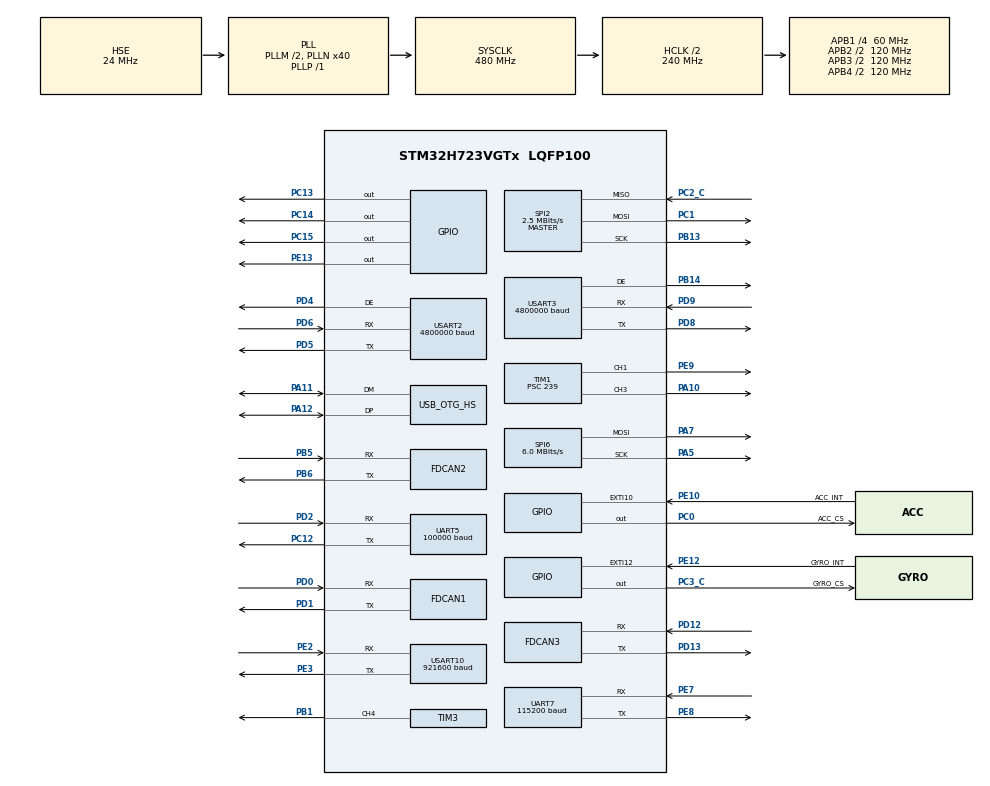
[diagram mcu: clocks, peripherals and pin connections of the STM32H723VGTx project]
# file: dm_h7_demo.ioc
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Dma.Request0=USART2_RX
Dma.Request1=USART2_TX
Dma.Request2=USART3_RX
Dma.Request3=USART3_TX
Dma.Request4=UART5_RX
Dma.Request5=UART5_TX
Dma.Request6=USART10_TX
Dma.Request7=UART7_TX
Dma.UART5_RX.4.Direction=DMA_PERIPH_TO_MEMORY
Dma.UART5_RX.4.EventEnable=DISABLE
Dma.UART5_RX.4.FIFOMode=DMA_FIFOMODE_DISABLE
Dma.UART5_RX.4.Instance=DMA1_Stream4
Dma.UART5_RX.4.MemDataAlignment=DMA_MDATAALIGN_BYTE
Dma.UART5_RX.4.MemInc=DMA_MINC_ENABLE
Dma.UART5_RX.4.Mode=DMA_NORMAL
Dma.UART5_RX.4.PeriphDataAlignment=DMA_PDATAALIGN_BYTE
Dma.UART5_RX.4.PeriphInc=DMA_PINC_DISABLE
Dma.UART5_RX.4.Polarity=HAL_DMAMUX_REQ_GEN_RISING
Dma.UART5_RX.4.Priority=DMA_PRIORITY_LOW
Dma.UART5_RX.4.RequestNumber=1
Dma.UART5_RX.4.SignalID=NONE
Dma.UART5_RX.4.SyncEnable=DISABLE
Dma.UART5_RX.4.SyncPolarity=HAL_DMAMUX_SYNC_NO_EVENT
Dma.UART5_RX.4.SyncRequestNumber=1
Dma.UART5_RX.4.SyncSignalID=NONE
Dma.UART5_TX.5.Direction=DMA_MEMORY_TO_PERIPH
Dma.UART5_TX.5.EventEnable=DISABLE
Dma.UART5_TX.5.FIFOMode=DMA_FIFOMODE_DISABLE
Dma.UART5_TX.5.Instance=DMA1_Stream5
Dma.UART5_TX.5.MemDataAlignment=DMA_MDATAALIGN_BYTE
Dma.UART5_TX.5.MemInc=DMA_MINC_ENABLE
Dma.UART5_TX.5.Mode=DMA_NORMAL
Dma.UART5_TX.5.PeriphDataAlignment=DMA_PDATAALIGN_BYTE
Dma.UART5_TX.5.PeriphInc=DMA_PINC_DISABLE
Dma.UART5_TX.5.Polarity=HAL_DMAMUX_REQ_GEN_RISING
Dma.UART5_TX.5.Priority=DMA_PRIORITY_LOW
Dma.UART5_TX.5.RequestNumber=1
Dma.UART5_TX.5.SignalID=NONE
Dma.UART5_TX.5.SyncEnable=DISABLE
Dma.UART5_TX.5.SyncPolarity=HAL_DMAMUX_SYNC_NO_EVENT
Dma.UART5_TX.5.SyncRequestNumber=1
Dma.UART5_TX.5.SyncSignalID=NONE
Dma.UART7_TX.7.Direction=DMA_MEMORY_TO_PERIPH
Dma.UART7_TX.7.EventEnable=DISABLE
Dma.UART7_TX.7.FIFOMode=DMA_FIFOMODE_DISABLE
Dma.UART7_TX.7.Instance=DMA1_Stream7
Dma.UART7_TX.7.MemDataAlignment=DMA_MDATAALIGN_BYTE
Dma.UART7_TX.7.MemInc=DMA_MINC_ENABLE
Dma.UART7_TX.7.Mode=DMA_NORMAL
Dma.UART7_TX.7.PeriphDataAlignment=DMA_PDATAALIGN_BYTE
Dma.UART7_TX.7.PeriphInc=DMA_PINC_DISABLE
Dma.UART7_TX.7.Polarity=HAL_DMAMUX_REQ_GEN_RISING
Dma.UART7_TX.7.Priority=DMA_PRIORITY_LOW
Dma.UART7_TX.7.RequestNumber=1
Dma.UART7_TX.7.SignalID=NONE
Dma.UART7_TX.7.SyncEnable=DISABLE
Dma.UART7_TX.7.SyncPolarity=HAL_DMAMUX_SYNC_NO_EVENT
Dma.UART7_TX.7.SyncRequestNumber=1
Dma.UART7_TX.7.SyncSignalID=NONE
Dma.USART10_TX.6.Direction=DMA_MEMORY_TO_PERIPH
Dma.USART10_TX.6.EventEnable=DISABLE
Dma.USART10_TX.6.FIFOMode=DMA_FIFOMODE_DISABLE
Dma.USART10_TX.6.Instance=DMA1_Stream6
Dma.USART10_TX.6.MemDataAlignment=DMA_MDATAALIGN_BYTE
Dma.USART10_TX.6.MemInc=DMA_MINC_ENABLE
Dma.USART10_TX.6.Mode=DMA_NORMAL
Dma.USART10_TX.6.PeriphDataAlignment=DMA_PDATAALIGN_BYTE
Dma.USART10_TX.6.PeriphInc=DMA_PINC_DISABLE
Dma.USART10_TX.6.Polarity=HAL_DMAMUX_REQ_GEN_RISING
Dma.USART10_TX.6.Priority=DMA_PRIORITY_LOW
Dma.USART10_TX.6.RequestNumber=1
Dma.USART10_TX.6.SignalID=NONE
Dma.USART10_TX.6.SyncEnable=DISABLE
Dma.USART10_TX.6.SyncPolarity=HAL_DMAMUX_SYNC_NO_EVENT
Dma.USART10_TX.6.SyncRequestNumber=1
Dma.USART10_TX.6.SyncSignalID=NONE
Dma.USART2_RX.0.Direction=DMA_PERIPH_TO_MEMORY
Dma.USART2_RX.0.EventEnable=DISABLE
Dma.USART2_RX.0.FIFOMode=DMA_FIFOMODE_DISABLE
Dma.USART2_RX.0.Instance=DMA1_Stream0
Dma.USART2_RX.0.MemDataAlignment=DMA_MDATAALIGN_BYTE
Dma.USART2_RX.0.MemInc=DMA_MINC_ENABLE
Dma.USART2_RX.0.Mode=DMA_NORMAL
Dma.USART2_RX.0.PeriphDataAlignment=DMA_PDATAALIGN_BYTE
Dma.USART2_RX.0.PeriphInc=DMA_PINC_DISABLE
Dma.USART2_RX.0.Polarity=HAL_DMAMUX_REQ_GEN_RISING
Dma.USART2_RX.0.Priority=DMA_PRIORITY_LOW
Dma.USART2_RX.0.RequestNumber=1
Dma.USART2_RX.0.SignalID=NONE
Dma.USART2_RX.0.SyncEnable=DISABLE
Dma.USART2_RX.0.SyncPolarity=HAL_DMAMUX_SYNC_NO_EVENT
Dma.USART2_RX.0.SyncRequestNumber=1
Dma.USART2_RX.0.SyncSignalID=NONE
Dma.USART2_TX.1.Direction=DMA_MEMORY_TO_PERIPH
Dma.USART2_TX.1.EventEnable=DISABLE
Dma.USART2_TX.1.FIFOMode=DMA_FIFOMODE_DISABLE
Dma.USART2_TX.1.Instance=DMA1_Stream1
Dma.USART2_TX.1.MemDataAlignment=DMA_MDATAALIGN_BYTE
Dma.USART2_TX.1.MemInc=DMA_MINC_ENABLE
Dma.USART2_TX.1.Mode=DMA_NORMAL
Dma.USART2_TX.1.PeriphDataAlignment=DMA_PDATAALIGN_BYTE
Dma.USART2_TX.1.PeriphInc=DMA_PINC_DISABLE
Dma.USART2_TX.1.Polarity=HAL_DMAMUX_REQ_GEN_RISING
Dma.USART2_TX.1.Priority=DMA_PRIORITY_LOW
Dma.USART2_TX.1.RequestNumber=1
Dma.USART2_TX.1.SignalID=NONE
Dma.USART2_TX.1.SyncEnable=DISABLE
Dma.USART2_TX.1.SyncPolarity=HAL_DMAMUX_SYNC_NO_EVENT
Dma.USART2_TX.1.SyncRequestNumber=1
Dma.USART2_TX.1.SyncSignalID=NONE
Dma.USART3_RX.2.Direction=DMA_PERIPH_TO_MEMORY
Dma.USART3_RX.2.EventEnable=DISABLE
Dma.USART3_RX.2.FIFOMode=DMA_FIFOMODE_DISABLE
Dma.USART3_RX.2.Instance=DMA1_Stream2
Dma.USART3_RX.2.MemDataAlignment=DMA_MDATAALIGN_BYTE
Dma.USART3_RX.2.MemInc=DMA_MINC_ENABLE
Dma.USART3_RX.2.Mode=DMA_NORMAL
Dma.USART3_RX.2.PeriphDataAlignment=DMA_PDATAALIGN_BYTE
Dma.USART3_RX.2.PeriphInc=DMA_PINC_DISABLE
Dma.USART3_RX.2.Polarity=HAL_DMAMUX_REQ_GEN_RISING
Dma.USART3_RX.2.Priority=DMA_PRIORITY_LOW
Dma.USART3_RX.2.RequestNumber=1
Dma.USART3_RX.2.SignalID=NONE
Dma.USART3_RX.2.SyncEnable=DISABLE
Dma.USART3_RX.2.SyncPolarity=HAL_DMAMUX_SYNC_NO_EVENT
Dma.USART3_RX.2.SyncRequestNumber=1
Dma.USART3_RX.2.SyncSignalID=NONE
Dma.USART3_TX.3.Direction=DMA_MEMORY_TO_PERIPH
Dma.USART3_TX.3.EventEnable=DISABLE
Dma.USART3_TX.3.FIFOMode=DMA_FIFOMODE_ENABLE
Dma.USART3_TX.3.FIFOThreshold=DMA_FIFO_THRESHOLD_FULL
Dma.USART3_TX.3.Instance=DMA1_Stream3
Dma.USART3_TX.3.MemBurst=DMA_MBURST_SINGLE
Dma.USART3_TX.3.MemDataAlignment=DMA_MDATAALIGN_BYTE
Dma.USART3_TX.3.MemInc=DMA_MINC_ENABLE
Dma.USART3_TX.3.Mode=DMA_NORMAL
Dma.USART3_TX.3.PeriphBurst=DMA_PBURST_SINGLE
Dma.USART3_TX.3.PeriphDataAlignment=DMA_PDATAALIGN_BYTE
Dma.USART3_TX.3.PeriphInc=DMA_PINC_DISABLE
Dma.USART3_TX.3.Polarity=HAL_DMAMUX_REQ_GEN_RISING
Dma.USART3_TX.3.Priority=DMA_PRIORITY_LOW
Dma.USART3_TX.3.RequestNumber=1
Dma.USART3_TX.3.SignalID=NONE
Dma.USART3_TX.3.SyncEnable=DISABLE
Dma.USART3_TX.3.SyncPolarity=HAL_DMAMUX_SYNC_NO_EVENT
Dma.USART3_TX.3.SyncRequestNumber=1
Dma.USART3_TX.3.SyncSignalID=NONE
FDCAN1.AutoRetransmission=ENABLE
FDCAN1.CalculateBaudRateNominal=1000000
FDCAN1.CalculateTimeBitNominal=1000
FDCAN1.CalculateTimeQuantumNominal=12.5
FDCAN1.DataSyncJumpWidth=2
FDCAN1.DataTimeSeg1=13
FDCAN1.DataTimeSeg2=2
FDCAN1.ExtFiltersNbr=4
FDCAN1.NominalPrescaler=1
FDCAN1.NominalSyncJumpWidth=20
FDCAN1.NominalTimeSeg1=59
FDCAN1.NominalTimeSeg2=20
FDCAN1.ProtocolException=ENABLE
FDCAN1.RxBuffersNbr=2
FDCAN1.RxFifo0ElmtsNbr=8
FDCAN1.RxFifo1ElmtsNbr=8
FDCAN1.StdFiltersNbr=4
FDCAN1.TxBuffersNbr=8
FDCAN1.TxEventsNbr=8
FDCAN1.TxFifoQueueElmtsNbr=8
FDCAN2.AutoRetransmission=ENABLE
FDCAN2.CalculateBaudRateNominal=1000000
FDCAN2.CalculateTimeBitNominal=1000
FDCAN2.CalculateTimeQuantumNominal=12.5
FDCAN2.DataSyncJumpWidth=2
FDCAN2.DataTimeSeg1=13
FDCAN2.DataTimeSeg2=2
FDCAN2.ExtFiltersNbr=4
FDCAN2.MessageRAMOffset=853
FDCAN2.NominalPrescaler=1
FDCAN2.NominalSyncJumpWidth=20
FDCAN2.NominalTimeSeg1=59
FDCAN2.NominalTimeSeg2=20
FDCAN2.ProtocolException=ENABLE
FDCAN2.RxBuffersNbr=2
FDCAN2.RxFifo0ElmtsNbr=8
FDCAN2.RxFifo1ElmtsNbr=8
FDCAN2.StdFiltersNbr=4
FDCAN2.TxBuffersNbr=8
FDCAN2.TxEventsNbr=8
FDCAN2.TxFifoQueueElmtsNbr=8
FDCAN3.AutoRetransmission=ENABLE
FDCAN3.CalculateBaudRateNominal=1000000
FDCAN3.CalculateTimeBitNominal=1000
FDCAN3.CalculateTimeQuantumNominal=12.5
FDCAN3.DataSyncJumpWidth=2
FDCAN3.DataTimeSeg1=13
FDCAN3.DataTimeSeg2=2
FDCAN3.ExtFiltersNbr=4
FDCAN3.MessageRAMOffset=1706
FDCAN3.NominalPrescaler=1
FDCAN3.NominalSyncJumpWidth=20
FDCAN3.NominalTimeSeg1=59
FDCAN3.NominalTimeSeg2=20
FDCAN3.ProtocolException=ENABLE
FDCAN3.RxBuffersNbr=2
FDCAN3.RxFifo0ElmtsNbr=8
FDCAN3.RxFifo1ElmtsNbr=8
FDCAN3.StdFiltersNbr=4
FDCAN3.TxBuffersNbr=8
FDCAN3.TxEventsNbr=8
FDCAN3.TxFifoQueueElmtsNbr=8
Mcu.Family=STM32H7
Mcu.Name=STM32H723VGTx
Mcu.Package=LQFP100
NVIC.DMA1_Stream0_IRQn=true\:0\:0\:false\:false\:true\:false\:true\:true
NVIC.DMA1_Stream1_IRQn=true\:0\:0\:false\:false\:true\:false\:true\:true
NVIC.DMA1_Stream2_IRQn=true\:0\:0\:false\:false\:true\:false\:true\:true
NVIC.DMA1_Stream3_IRQn=true\:0\:0\:false\:false\:true\:false\:true\:true
NVIC.DMA1_Stream4_IRQn=true\:0\:0\:false\:false\:true\:false\:true\:true
NVIC.DMA1_Stream5_IRQn=true\:0\:0\:false\:false\:true\:false\:true\:true
NVIC.DMA1_Stream6_IRQn=true\:0\:0\:false\:false\:true\:false\:true\:true
NVIC.DMA1_Stream7_IRQn=true\:0\:0\:false\:false\:true\:false\:true\:true
NVIC.EXTI15_10_IRQn=true\:0\:0\:false\:false\:true\:true\:true\:true
NVIC.FDCAN1_IT0_IRQn=true\:0\:0\:false\:false\:true\:true\:true\:true
NVIC.FDCAN1_IT1_IRQn=true\:0\:0\:false\:false\:true\:true\:true\:true
NVIC.FDCAN2_IT0_IRQn=true\:0\:0\:false\:false\:true\:true\:true\:true
NVIC.FDCAN2_IT1_IRQn=true\:0\:0\:false\:false\:true\:true\:true\:true
NVIC.FDCAN3_IT0_IRQn=true\:0\:0\:false\:false\:true\:true\:true\:true
NVIC.FDCAN3_IT1_IRQn=true\:0\:0\:false\:false\:true\:true\:true\:true
NVIC.OTG_HS_IRQn=true\:0\:0\:false\:false\:true\:true\:true\:true
NVIC.PriorityGroup=NVIC_PRIORITYGROUP_4
NVIC.UART5_IRQn=true\:0\:0\:false\:false\:true\:true\:true\:true
NVIC.UART7_IRQn=true\:0\:0\:false\:false\:true\:true\:true\:true
NVIC.USART10_IRQn=true\:0\:0\:false\:false\:true\:true\:true\:true
NVIC.USART2_IRQn=true\:0\:0\:false\:false\:true\:true\:true\:true
NVIC.USART3_IRQn=true\:0\:0\:false\:false\:true\:true\:true\:true
PA10.Signal=S_TIM1_CH3
PA11.Mode=Device_Only_FS
PA11.Signal=USB_OTG_HS_DM
PA12.Mode=Device_Only_FS
PA12.Signal=USB_OTG_HS_DP
PA13(JTMS/SWDIO).Mode=Serial_Wire
PA13(JTMS/SWDIO).Signal=DEBUG_JTMS-SWDIO
PA14(JTCK/SWCLK).Mode=Serial_Wire
PA14(JTCK/SWCLK).Signal=DEBUG_JTCK-SWCLK
PA5.Mode=TX_Only_Simplex_Unidirect_Master
PA5.Signal=SPI6_SCK
PA7.Mode=TX_Only_Simplex_Unidirect_Master
PA7.Signal=SPI6_MOSI
PB1.Signal=S_TIM3_CH4
PB13.Mode=Full_Duplex_Master
PB13.Signal=SPI2_SCK
PB14.Mode=Hardware Flow Control (RS485)
PB14.Signal=USART3_DE
PB5.Mode=FDCAN_Activate
PB5.Signal=FDCAN2_RX
PB6.Mode=FDCAN_Activate
PB6.Signal=FDCAN2_TX
PC0.GPIO_Label=ACC_CS
PC0.GPIO_Speed=GPIO_SPEED_FREQ_VERY_HIGH
PC0.PinState=GPIO_PIN_SET
PC0.Signal=GPIO_Output
PC1.Mode=Full_Duplex_Master
PC1.Signal=SPI2_MOSI
PC12.Mode=Asynchronous
PC12.Signal=UART5_TX
PC13.PinState=GPIO_PIN_SET
PC13.Signal=GPIO_Output
PC14-OSC32_IN.Signal=GPIO_Output
PC15-OSC32_OUT.PinState=GPIO_PIN_SET
PC15-OSC32_OUT.Signal=GPIO_Output
PC2_C.Mode=Full_Duplex_Master
PC2_C.Signal=SPI2_MISO
PC3_C.GPIO_Label=GYRO_CS
PC3_C.GPIO_Speed=GPIO_SPEED_FREQ_VERY_HIGH
PC3_C.PinState=GPIO_PIN_SET
PC3_C.Signal=GPIO_Output
PD0.Mode=FDCAN_Activate
PD0.Signal=FDCAN1_RX
PD1.Mode=FDCAN_Activate
PD1.Signal=FDCAN1_TX
PD12.Mode=FDCAN_Activate
PD12.Signal=FDCAN3_RX
PD13.Mode=FDCAN_Activate
PD13.Signal=FDCAN3_TX
PD2.Mode=Asynchronous
PD2.Signal=UART5_RX
PD4.Mode=Hardware Flow Control (RS485)
PD4.Signal=USART2_DE
PD5.Mode=Asynchronous
PD5.Signal=USART2_TX
PD6.Mode=Asynchronous
PD6.Signal=USART2_RX
PD8.Mode=Asynchronous
PD8.Signal=USART3_TX
PD9.Mode=Asynchronous
PD9.Signal=USART3_RX
PE10.GPIO_Label=ACC_INT
PE10.Signal=GPXTI10
PE12.GPIO_Label=GYRO_INT
PE12.Signal=GPXTI12
PE13.Signal=GPIO_Output
PE2.Mode=Asynchronous
PE2.Signal=USART10_RX
PE3.Mode=Asynchronous
PE3.Signal=USART10_TX
PE7.Mode=Asynchronous
PE7.Signal=UART7_RX
PE8.Mode=Asynchronous
PE8.Signal=UART7_TX
PE9.Signal=S_TIM1_CH1
PH0-OSC_IN.Mode=HSE-External-Oscillator
PH0-OSC_IN.Signal=RCC_OSC_IN
PH1-OSC_OUT.Mode=HSE-External-Oscillator
PH1-OSC_OUT.Signal=RCC_OSC_OUT
ProjectManager.HeapSize=0x1000
ProjectManager.StackSize=0x4000
ProjectManager.TargetToolchain=MDK-ARM V5.32
RCC.ADCFreq_Value=48375000
RCC.APB1Freq_Value=60000000
RCC.APB2Freq_Value=120000000
RCC.APB3Freq_Value=120000000
RCC.APB4Freq_Value=120000000
RCC.CortexFreq_Value=480000000
RCC.D1PPRE=RCC_APB3_DIV2
RCC.D2PPRE1=RCC_APB1_DIV4
RCC.D2PPRE2=RCC_APB2_DIV2
RCC.D3PPRE=RCC_APB4_DIV2
RCC.DIVM1=2
RCC.DIVN1=40
RCC.DIVP1=1
RCC.DIVQ1=6
RCC.HCLKFreq_Value=240000000
RCC.HPRE=RCC_HCLK_DIV2
RCC.HSE_VALUE=24000000
RCC.PLL2FRACN=0
RCC.PLL3FRACN=0
RCC.PLLFRACN=0
RCC.PLLSourceVirtual=RCC_PLLSOURCE_HSE
RCC.SPI6CLockSelection=RCC_SPI6CLKSOURCE_HSE
RCC.SYSCLKFreq_VALUE=480000000
RCC.SYSCLKSource=RCC_SYSCLKSOURCE_PLLCLK
RCC.USBCLockSelection=RCC_USBCLKSOURCE_HSI48
RCC.USBFreq_Value=48000000
SH.S_TIM1_CH1.0=TIM1_CH1,PWM Generation1 CH1
SH.S_TIM1_CH3.0=TIM1_CH3,PWM Generation3 CH3
SH.S_TIM3_CH4.0=TIM3_CH4,PWM Generation4 CH4
SPI2.BaudRatePrescaler=SPI_BAUDRATEPRESCALER_32
SPI2.CLKPhase=SPI_PHASE_2EDGE
SPI2.CLKPolarity=SPI_POLARITY_HIGH
SPI2.CalculateBaudRate=2.5 MBits/s
SPI2.DataSize=SPI_DATASIZE_8BIT
SPI2.Direction=SPI_DIRECTION_2LINES
SPI2.Mode=SPI_MODE_MASTER
SPI2.VirtualType=VM_MASTER
SPI6.BaudRatePrescaler=SPI_BAUDRATEPRESCALER_4
SPI6.CLKPhase=SPI_PHASE_2EDGE
SPI6.CalculateBaudRate=6.0 MBits/s
SPI6.DataSize=SPI_DATASIZE_8BIT
SPI6.Direction=SPI_DIRECTION_2LINES_TXONLY
SPI6.Mode=SPI_MODE_MASTER
SPI6.VirtualType=VM_MASTER
STMicroelectronics.X-CUBE-ALGOBUILD.1.3.0.LibraryCcDSPOoLibraryJjDSPOoLibrary=true
TIM1.Channel-PWM\ Generation1\ CH1=TIM_CHANNEL_1
TIM1.Channel-PWM\ Generation3\ CH3=TIM_CHANNEL_3
TIM1.Period=19999
TIM1.Prescaler=239
TIM3.Channel-PWM\ Generation4\ CH4=TIM_CHANNEL_4
TIM3.Period=10000-1
TIM3.Prescaler=24-1
UART5.BaudRate=100000
UART5.Parity=PARITY_EVEN
UART5.WordLength=WORDLENGTH_9B
UART7.BaudRate=115200
USART10.BaudRate=921600
USART10.VirtualMode=VM_ASYNC
USART2.BaudRate=4800000
USART2.OverSampling=UART_OVERSAMPLING_8
USART2.VirtualMode-Asynchronous=VM_ASYNC
USART2.VirtualMode-Hardware\ Flow\ Control\ (RS485)=VM_ASYNC
USART3.BaudRate=4800000
USART3.OverSampling=UART_OVERSAMPLING_8
USART3.VirtualMode-Asynchronous=VM_ASYNC
USART3.VirtualMode-Hardware\ Flow\ Control\ (RS485)=VM_ASYNC
USB_DEVICE.CLASS_NAME_HS=CDC
USB_DEVICE.VirtualMode=Cdc
USB_DEVICE.VirtualModeHS=Cdc_HS
USB_OTG_HS.VirtualMode-Device_Only_FS=Device_Only_FS
VP_MEMORYMAP_VS_MEMORYMAP.Mode=CurAppReg
VP_STMicroelectronics.X-CUBE-ALGOBUILD_VS_DSPOoLibraryJjLibrary_1.3.0_1.3.0.Mode=DSPOoLibraryJjLibrary
VP_TIM1_VS_ClockSourceINT.Mode=Internal
VP_TIM3_VS_ClockSourceINT.Mode=Internal
VP_USB_DEVICE_VS_USB_DEVICE_CDC_HS.Mode=CDC_HS
board=custom

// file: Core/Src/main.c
/* USER CODE BEGIN Header */
/**
 ******************************************************************************
 * @file           : main.c
 * @brief          : Main program body
 ******************************************************************************
 * @attention
 *
 * Copyright (c) 2024 STMicroelectronics.
 * All rights reserved.
 *
 * This software is licensed under terms that can be found in the LICENSE file
 * in the root directory of this software component.
 * If no LICENSE file comes with this software, it is provided AS-IS.
 *
 ******************************************************************************
 */
/* USER CODE END Header */
#include "main.h"
#include "dma.h"
#include "fdcan.h"
#include "memorymap.h"
#include "spi.h"
#include "tim.h"
#include "usart.h"
#include "usb_device.h"
#include "gpio.h"

/* USER CODE BEGIN Includes */
#include "kf_imu.h"
#include "bsp_dwt.h"

#include "arm.h"
#include "chassis.h"
#include "robot_cmd.h"
#include "robot_def.h"
#include "video.h"
#include "sucker.h"
#include "cm_device.h"
#include "UI_task.h"
#include "ui.h"
#include "bsp_uart.h"
/* USER CODE END Includes */

/* USER CODE BEGIN PTD */
float target_lift_speed1=0;
/* USER CODE END PTD */

/* USER CODE BEGIN PV */
extern IMU_DATA imu_data;
static unsigned int task_count = 0;
static float wasteT = 0; //单位秒s

static int time_count =0;//计数变量 用于控制频率
/* USER CODE END PV */

void SystemClock_Config(void);

int main(void)
{

  /* MCU Configuration--------------------------------------------------------*/

  /* Reset of all peripherals, Initializes the Flash interface and the Systick. */
  HAL_Init();

  /* USER CODE BEGIN Init */
//  HAL_Delay(100);//�ϵ�������
  /* USER CODE END Init */

  /* Configure the system clock */
  SystemClock_Config();

  /* USER CODE BEGIN SysInit */

//  HAL_Delay(3000);
  /* USER CODE END SysInit */

  /* Initialize all configured peripherals */
  MX_GPIO_Init();
  MX_DMA_Init();
  MX_USART2_UART_Init();
  MX_USART3_UART_Init();
  MX_SPI6_Init();
  MX_FDCAN1_Init();
  MX_FDCAN2_Init();
  MX_FDCAN3_Init();
  MX_SPI2_Init();
  MX_TIM3_Init();
  MX_UART5_Init();
  MX_USB_DEVICE_Init();
  MX_UART7_Init();
  MX_TIM1_Init();
  MX_USART10_UART_Init();
  /* USER CODE BEGIN 2 */

  ui_init_g();
  DWT_Init(480);

	kf_imu_init();
  DWT_Delay(0.1);

  bsp_can_init();

  ROBOT_CMD_INIT();
  CHASSIS_INIT();
  ARM_INIT();
	VIDEO_INIT();
	SUCKER_INIT();
	HAL_UARTEx_ReceiveToIdle_IT(&huart10,uart10_rx_buff, sizeof(uart10_rx_buff));

	device_init(&video_cm, 0.1,  1);//��ʼ��ͼ���豸��ʱʱ��
	device_init(&rc_cm, 0.3,  2);//��ʼ��ͼ���豸��ʱʱ��

  /* USER CODE END 2 */

  /* Infinite loop */
  /* USER CODE BEGIN WHILE */
  while (1)
  {
		recieve_all_data();
    // 1000HZ循环
    DWT_GetDeltaT(&task_count);
		/*tasks begin*/
    kf_imu_upgrade();
		/*tasks end*/
		if(time_count%10==0)//100hz任务
    {
			minipc_send(&minipc);

		}
		 if(time_count%10==0)//100hz任务
    {

			if(shift_flag==1&&f_flag==1)
			{
//				__set_FAULTMASK(1);//��ֹ���еĿ������ж�
//        NVIC_SystemReset();//������λ

//				save_pos_zero(&hfdcan2, 2, POS_MODE);
//				save_pos_zero(&hfdcan3, 1, POS_MODE);

//				if(max_motor.para.state!=0)
				clear_err(&hfdcan2,  1,  MIT_MODE);
				clear_err(&hfdcan2,  2,  POS_MODE);
				clear_err(&hfdcan3,  1,  POS_MODE);
				clear_err(&hfdcan3,  2,  POS_MODE);
				DWT_Delay(0.002);

				enable_motor_mode(&hfdcan2, 1, MIT_MODE);
        enable_motor_mode(&hfdcan2, 2, POS_MODE);
        enable_motor_mode(&hfdcan3, 1, POS_MODE);
        enable_motor_mode(&hfdcan3, 2, POS_MODE);

			}

				if(ctrl_flag==1&&shift_flag==1&&f_flag==1)
			{
				__set_FAULTMASK(1);//��ֹ���еĿ������ж�
        NVIC_SystemReset();//������λ

			}
			if(ctrl_flag==1&&shift_flag==1&&g_flag==1)
			{
				 __HAL_TIM_SetCompare(&htim1, TIM_CHANNEL_3, 19999);//�������
				enable_motor_mode(&hfdcan2, 1, MIT_MODE);
        enable_motor_mode(&hfdcan2, 2, POS_MODE);
        enable_motor_mode(&hfdcan3, 1, POS_MODE);
        enable_motor_mode(&hfdcan3, 2, POS_MODE);

			}
			else
			{
				 __HAL_TIM_SetCompare(&htim1, TIM_CHANNEL_3, 0);
			}

    }

    if(time_count%5==0)//200hz任务
    {
			device_refresh(&video_cm);
			device_refresh(&rc_cm);
    }

		if(time_count%5==0)//200hz任务
    {
     ROBOT_CMD_TASK();
    }

#ifndef TEST_MODE

    CHASSIS_TASK();
		ARM_TASK();
		VIDEO_TASK();
		SUCKER_TASK();

		if(ctrl_flag&&shift_flag&&g_flag){
		if(max_motor.para.state!=0&&max_motor.para.state!=1)
		{
		 clear_err(&hfdcan2,  1,  MIT_MODE);
		DWT_Delay(0.002);
		 enable_motor_mode(&hfdcan2, 1, MIT_MODE);
		}
		if(min_motor.para.state!=0&&min_motor.para.state!=1)
		{
		 clear_err(&hfdcan2,  2,  POS_MODE);
		DWT_Delay(0.002);
		 enable_motor_mode(&hfdcan2, 2, POS_MODE);

		}

	  if(finesse_motor.para.state!=0&&finesse_motor.para.state!=1)
		{
		 clear_err(&hfdcan3,  1,  POS_MODE);
		DWT_Delay(0.002);
		 enable_motor_mode(&hfdcan3, 1, POS_MODE);
		}
		if(pitch_motor.para.state!=0&&pitch_motor.para.state!=1)
		{
		 clear_err(&hfdcan3,  2,  POS_MODE);
		DWT_Delay(0.002);
		 enable_motor_mode(&hfdcan3, 2, POS_MODE);

		}
	}

#endif

		#ifdef TEST_MODE
		TEST_TASK();
		#endif

    if(time_count%200==0)//5hz任务
    {
//      offline_check();//离线�?�?
			if(g_flag)
			{

				 ui_init_g();//ˢ��UI
			}
				UI_UPLOAD();//������Ϣ
			 ui_update_g();
			 uart7_tx_refresh();
//			 UI_TASK();
    }

		 if(time_count%1000==0)//1hz任务
    {

    }

    float Task_T = DWT_GetDeltaT(&task_count);
    wasteT = 0.001f - Task_T;
		if(wasteT>=0)
    DWT_Delay(wasteT);

    time_count++;//1000hz自增

    /* USER CODE END WHILE */

  }
}

void SystemClock_Config(void)
{
  RCC_OscInitTypeDef RCC_OscInitStruct = {0};
  RCC_ClkInitTypeDef RCC_ClkInitStruct = {0};

  /** Supply configuration update enable
  */
  HAL_PWREx_ConfigSupply(PWR_LDO_SUPPLY);

  /** Configure the main internal regulator output voltage
  */
  __HAL_PWR_VOLTAGESCALING_CONFIG(PWR_REGULATOR_VOLTAGE_SCALE0);

  while(!__HAL_PWR_GET_FLAG(PWR_FLAG_VOSRDY)) {}

  /** Initializes the RCC Oscillators according to the specified parameters
  * in the RCC_OscInitTypeDef structure.
  */
  RCC_OscInitStruct.OscillatorType = RCC_OSCILLATORTYPE_HSI48|RCC_OSCILLATORTYPE_HSE;
  RCC_OscInitStruct.HSEState = RCC_HSE_ON;
  RCC_OscInitStruct.HSI48State = RCC_HSI48_ON;
  RCC_OscInitStruct.PLL.PLLState = RCC_PLL_ON;
  RCC_OscInitStruct.PLL.PLLSource = RCC_PLLSOURCE_HSE;
  RCC_OscInitStruct.PLL.PLLM = 2;
  RCC_OscInitStruct.PLL.PLLN = 40;
  RCC_OscInitStruct.PLL.PLLP = 1;
  RCC_OscInitStruct.PLL.PLLQ = 6;
  RCC_OscInitStruct.PLL.PLLR = 2;
  RCC_OscInitStruct.PLL.PLLRGE = RCC_PLL1VCIRANGE_3;
  RCC_OscInitStruct.PLL.PLLVCOSEL = RCC_PLL1VCOWIDE;
  RCC_OscInitStruct.PLL.PLLFRACN = 0;
  if (HAL_RCC_OscConfig(&RCC_OscInitStruct) != HAL_OK)
  {
    Error_Handler();
  }

  /** Initializes the CPU, AHB and APB buses clocks
  */
  RCC_ClkInitStruct.ClockType = RCC_CLOCKTYPE_HCLK|RCC_CLOCKTYPE_SYSCLK
                              |RCC_CLOCKTYPE_PCLK1|RCC_CLOCKTYPE_PCLK2
                              |RCC_CLOCKTYPE_D3PCLK1|RCC_CLOCKTYPE_D1PCLK1;
  RCC_ClkInitStruct.SYSCLKSource = RCC_SYSCLKSOURCE_PLLCLK;
  RCC_ClkInitStruct.SYSCLKDivider = RCC_SYSCLK_DIV1;
  RCC_ClkInitStruct.AHBCLKDivider = RCC_HCLK_DIV2;
  RCC_ClkInitStruct.APB3CLKDivider = RCC_APB3_DIV2;
  RCC_ClkInitStruct.APB1CLKDivider = RCC_APB1_DIV4;
  RCC_ClkInitStruct.APB2CLKDivider = RCC_APB2_DIV2;
  RCC_ClkInitStruct.APB4CLKDivider = RCC_APB4_DIV2;

  if (HAL_RCC_ClockConfig(&RCC_ClkInitStruct, FLASH_LATENCY_3) != HAL_OK)
  {
    Error_Handler();
  }
}

void Error_Handler(void)
{
  __disable_irq();
  while (1)
  {
  }
}
